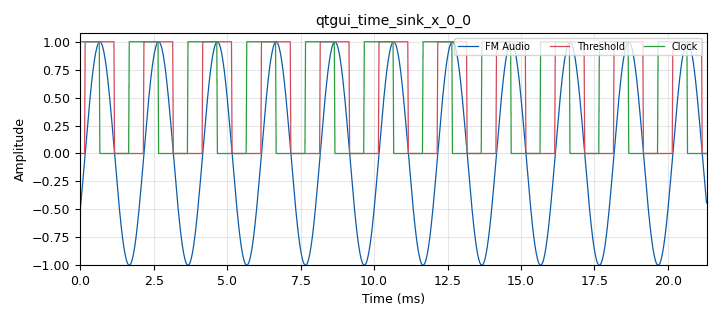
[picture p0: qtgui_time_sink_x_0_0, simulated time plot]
<?xml version='1.0' encoding='utf-8'?>
<?grc format='1' created='3.7.11'?>
<flow_graph>
<block>
<key>options</key>
<param><key>id</key><value>rdf_sim</value></param>
<param><key>generate_options</key><value>qt_gui</value></param>
<param><key>title</key><value>RDF Simulator</value></param>
</block>
<block>
<key>variable</key>
<param><key>id</key><value>freq</value></param>
<param><key>value</key><value>500</value></param>
</block>
<block>
<key>variable</key>
<param><key>id</key><value>samp_rate</value></param>
<param><key>value</key><value>48000</value></param>
</block>
<block>
<key>variable_qtgui_range</key>
<param><key>id</key><value>shift_slider</value></param>
<param><key>value</key><value>0</value></param>
<param><key>orient</key><value>Qt.Horizontal</value></param>
<param><key>start</key><value>0</value></param>
<param><key>step</key><value>0.1</value></param>
<param><key>stop</key><value>2* math.pi</value></param>
<param><key>widget</key><value>slider</value></param>
</block>
<block>
<key>variable_qtgui_label</key>
<param><key>id</key><value>variable_qtgui_label_0</value></param>
<param><key>value</key><value>3</value></param>
<param><key>label</key><value>hello</value></param>
<param><key>type</key><value>int</value></param>
</block>
<block>
<key>analog_sig_source_x</key>
<param><key>id</key><value>analog_sig_source_x_0</value></param>
<param><key>amp</key><value>1</value></param>
<param><key>freq</key><value>freq</value></param>
<param><key>offset</key><value>0</value></param>
<param><key>type</key><value>complex</value></param>
<param><key>samp_rate</key><value>samp_rate</value></param>
<param><key>waveform</key><value>analog.GR_COS_WAVE</value></param>
</block>
<block>
<key>analog_sig_source_x</key>
<param><key>id</key><value>analog_sig_source_x_1</value></param>
<param><key>amp</key><value>1</value></param>
<param><key>freq</key><value>freq </value></param>
<param><key>offset</key><value>0</value></param>
<param><key>type</key><value>float</value></param>
<param><key>samp_rate</key><value>samp_rate</value></param>
<param><key>waveform</key><value>analog.GR_SQR_WAVE</value></param>
</block>
<block>
<key>blocks_add_xx</key>
<param><key>id</key><value>blocks_add_xx_0</value></param>
<param><key>type</key><value>float</value></param>
</block>
<block>
<key>blocks_and_xx</key>
<param><key>id</key><value>blocks_and_xx_0</value></param>
<param><key>_enabled</key><value>0</value></param>
<param><key>type</key><value>byte</value></param>
</block>
<block>
<key>blocks_complex_to_float</key>
<param><key>id</key><value>blocks_complex_to_float_0</value></param>
</block>
<block>
<key>blocks_float_to_uchar</key>
<param><key>id</key><value>blocks_float_to_uchar_0</value></param>
</block>
<block>
<key>blocks_float_to_uchar</key>
<param><key>id</key><value>blocks_float_to_uchar_0_0</value></param>
</block>
<block>
<key>blocks_float_to_uchar</key>
<param><key>id</key><value>blocks_float_to_uchar_0_0_0</value></param>
</block>
<block>
<key>blocks_multiply_const_vxx</key>
<param><key>id</key><value>blocks_multiply_const_vxx_0</value></param>
<param><key>const</key><value>complex(math.cos(shift_slider),math.sin(shift_slider))</value></param>
<param><key>type</key><value>complex</value></param>
</block>
<block>
<key>blocks_null_sink</key>
<param><key>id</key><value>blocks_null_sink_0</value></param>
<param><key>bus_conns</key><value>[[0,],]</value></param>
<param><key>type</key><value>complex</value></param>
</block>
<block>
<key>blocks_null_source</key>
<param><key>id</key><value>blocks_null_source_0</value></param>
<param><key>bus_conns</key><value>[[0,],]</value></param>
<param><key>type</key><value>complex</value></param>
</block>
<block>
<key>blocks_threshold_ff</key>
<param><key>id</key><value>blocks_threshold_ff_1</value></param>
<param><key>high</key><value>0</value></param>
<param><key>init</key><value>0</value></param>
<param><key>low</key><value>0</value></param>
</block>
<block>
<key>blocks_throttle</key>
<param><key>id</key><value>blocks_throttle_0</value></param>
<param><key>samples_per_second</key><value>samp_rate</value></param>
<param><key>type</key><value>complex</value></param>
</block>
<block>
<key>blocks_throttle</key>
<param><key>id</key><value>blocks_throttle_0_0</value></param>
<param><key>samples_per_second</key><value>samp_rate</value></param>
<param><key>type</key><value>float</value></param>
</block>
<block>
<key>blocks_uchar_to_float</key>
<param><key>id</key><value>blocks_uchar_to_float_0</value></param>
<param><key>_enabled</key><value>0</value></param>
</block>
<block>
<key>blocks_udp_sink</key>
<param><key>id</key><value>blocks_udp_sink_0</value></param>
<param><key>ipaddr</key><value>localhost</value></param>
<param><key>port</key><value>913</value></param>
<param><key>type</key><value>byte</value></param>
<param><key>psize</key><value>1472</value></param>
<param><key>eof</key><value>True</value></param>
<param><key>vlen</key><value>1</value></param>
</block>
<block>
<key>digital_binary_slicer_fb</key>
<param><key>id</key><value>digital_binary_slicer_fb_0</value></param>
<param><key>_enabled</key><value>0</value></param>
</block>
<block>
<key>epy_block</key>
<param><key>id</key><value>epy_block_0</value></param>
<param><key>_source_code</key><value>"""
Embedded Python Blocks:

Each time this file is saved, GRC will instantiate the first class it finds
to get ports and parameters of your block. The arguments to __init__  will
be the parameters. All of them are required to have default values!
"""

import numpy as np
from gnuradio import gr


class blk(gr.sync_block):  # other base classes are basic_block, decim_block, interp_block
    """Embedded Python Block example - a simple multiply const"""

    def __init__(self, example_param=1.0):  # only default arguments here
        """arguments to this function show up as parameters in GRC"""
        gr.sync_block.__init__(
            self,
            name='hello world...',   # will show up in GRC
            in_sig=[np.complex64],
            out_sig=[np.complex64]
        )
        # if an attribute with the same name as a parameter is found,
        # a callback is registered (properties work, too).
        self.example_param = example_param

    def work(self, input_items, output_items):
        """example: multiply with constant"""
        output_items[0][:] = input_items[0] * self.example_param
        return len(output_items[0])
</value></param>
<param><key>example_param</key><value>1.0</value></param>
</block>
<block>
<key>epy_block</key>
<param><key>id</key><value>epy_block_0_0</value></param>
<param><key>_source_code</key><value>"""
Embedded Python Blocks:

Each time this file is saved, GRC will instantiate the first class it finds
to get ports and parameters of your block. The arguments to __init__  will
be the parameters. All of them are required to have default values!
"""

import numpy as np
from gnuradio import gr

# in new folder
class blk(gr.sync_block):  # other base classes are basic_block, decim_block, interp_block
    """Embedded Python Block example - a simple multiply const"""

    total_samples = 0
    curr_sig_samples = np.array([])
    curr_ref_samples = np.array([])


    def __init__(self, samp_rate=1.0, freq=500):  # only default arguments here
        """arguments to this function show up as parameters in GRC"""
        gr.sync_block.__init__(
            self,
            name='Phase Measurement',   # will show up in GRC
            in_sig=[np.uint8, np.uint8],
            out_sig=[np.float32]
        )
        # np types int32  
        # if an attribute with the same name as a parameter is found,
        # a callback is registered (properties work, too).
        self.samp_rate = samp_rate
        self.freq = freq

    def work(self, input_items, output_items):
        # print('sample rate = ' + str(self.samp_rate))
        # print('freq        = ' + str(self.freq))
        # print('Input Items[0]: ' + str(input_items[0]))
        # print('Input Items[1]: ' + str(input_items[1]))

        # input as a tuple???
        # print(str(type(self.curr_sig_samples)))
        # print(str(type(input_items[0])))
        # self.curr_sig_samples = np.concatenate((self.curr_sig_samples, input_items[0]))
        # self.curr_ref_samples = np.concatenate((self.curr_ref_samples, input_items[1]))

        # print('number of sig inputs: ' + str(len(input_items[0])))
        # print('number of sig samples: ' + str(len(self.curr_sig_samples)))
        # print('number of ref inputs: ' + str(len(input_items[1])))
        # print('number of ref samples: ' + str(len(self.curr_ref_samples)))
        # print(str(self.curr_sig_samples))
        # todo: check logic

        if len(input_items[0]) &gt;=  self.samp_rate/self.freq:
            max = [0,0]
            min = [0,0]
            max[0] = np.argmax(input_items[0])
            max[1] = np.argmax(input_items[1])
            min[0] = np.argmin(input_items[0])
            min[1] = np.argmin(input_items[1])
                # check for length
                # try putting a delay here...
            if max[0] and max[1]: 
                # angle = (max[0] - max[1]) * 360 / (self.samp_rate/self.freq)
                angle = 180 + (max[0] - max[1]) * 3.75
                # print('max: ' + str(angle))
                # print('MAX ' + str(max[0]) + ' ' + str(max[1]) + ' ' + str(angle))
                output_items[0][:] = np.array([angle])
                # print(output_items[0][:])
                # print('max')
            elif min[0] and min[1]: 
                # angle = (min[0] - min[1])  * 360 / self.samp_rate/self.freq
                angle = 180 + (min[0] - min[1]) * 3.75
                # print('min: ' + str(angle))
                # print('MIN ' + str(min[0]) + ' ' + str(min[1]) + ' ' + str(angle))
                output_items[0][:] = np.array([angle])
                # print(output_items[0][:])
                # print('min')
            # else:
                # needs xor
                # print('needs more work')
            # self.curr_sig_samples = np.array([])
            # self.curr_ref_samples = np.array([])
        else:
            #print('too short')
            return 0


        # print(str(type(input_items[0])))
        # self.total_samples += len(input_items[0])
        # self.total_samples += 1
        # print('current samples: ' + str(len(input_items[0])))
        # print('total samples  : ' + str(self.total_samples))
        # output_items[0][:] = input_items[0] * self.example_param
        # output_items[0][:] = self.total_samples
        # print(len(input_items[0]))
        # print(len(output_items[0]))
        return len(output_items[0])
        </value></param>
<param><key>freq</key><value>500</value></param>
<param><key>samp_rate</key><value>samp_rate</value></param>
</block>
<block>
<key>epy_module</key>
<param><key>id</key><value>epy_module_0</value></param>
<param><key>source_code</key><value># this module will be imported in the into your flowgraph</value></param>
<param><key>_enabled</key><value>0</value></param>
</block>
<block>
<key>import</key>
<param><key>id</key><value>import_0</value></param>
<param><key>import</key><value>import math</value></param>
</block>
<block>
<key>qtgui_number_sink</key>
<param><key>id</key><value>qtgui_number_sink_0</value></param>
<param><key>graph_type</key><value>qtgui.NUM_GRAPH_HORIZ</value></param>
<param><key>type</key><value>float</value></param>
<param><key>max</key><value>360</value></param>
<param><key>min</key><value>0</value></param>
<param><key>name</key><value>"Bearing"</value></param>
</block>
<block>
<key>qtgui_time_sink_x</key>
<param><key>id</key><value>qtgui_time_sink_x_0_0</value></param>
<param><key>ctrlpanel</key><value>True</value></param>
<param><key>entags</key><value>False</value></param>
<param><key>color1</key><value>"blue"</value></param>
<param><key>label1</key><value>FM Audio</value></param>
<param><key>color2</key><value>"red"</value></param>
<param><key>label2</key><value>Threshold</value></param>
<param><key>color3</key><value>"green"</value></param>
<param><key>label3</key><value>Clock</value></param>
<param><key>nconnections</key><value>3</value></param>
<param><key>size</key><value>1024</value></param>
<param><key>srate</key><value>samp_rate</value></param>
<param><key>type</key><value>float</value></param>
</block>
<block>
<key>qtgui_time_sink_x</key>
<param><key>id</key><value>qtgui_time_sink_x_0_0_0_0</value></param>
<param><key>ctrlpanel</key><value>True</value></param>
<param><key>_enabled</key><value>0</value></param>
<param><key>color1</key><value>"blue"</value></param>
<param><key>label1</key><value>Gate</value></param>
<param><key>size</key><value>10</value></param>
<param><key>srate</key><value>samp_rate</value></param>
<param><key>type</key><value>float</value></param>
<param><key>ymax</key><value>180</value></param>
<param><key>ymin</key><value>-180</value></param>
</block>
<connection><source_block_id>analog_sig_source_x_0</source_block_id><sink_block_id>blocks_throttle_0</sink_block_id><source_key>0</source_key><sink_key>0</sink_key></connection>
<connection><source_block_id>analog_sig_source_x_1</source_block_id><sink_block_id>blocks_throttle_0_0</sink_block_id><source_key>0</source_key><sink_key>0</sink_key></connection>
<connection><source_block_id>blocks_add_xx_0</source_block_id><sink_block_id>blocks_float_to_uchar_0_0_0</sink_block_id><source_key>0</source_key><sink_key>0</sink_key></connection>
<connection><source_block_id>blocks_complex_to_float_0</source_block_id><sink_block_id>blocks_threshold_ff_1</sink_block_id><source_key>0</source_key><sink_key>0</sink_key></connection>
<connection><source_block_id>blocks_complex_to_float_0</source_block_id><sink_block_id>qtgui_time_sink_x_0_0</sink_block_id><source_key>0</source_key><sink_key>0</sink_key></connection>
<connection><source_block_id>blocks_float_to_uchar_0</source_block_id><sink_block_id>epy_block_0_0</sink_block_id><source_key>0</source_key><sink_key>0</sink_key></connection>
<connection><source_block_id>blocks_float_to_uchar_0_0</source_block_id><sink_block_id>epy_block_0_0</sink_block_id><source_key>0</source_key><sink_key>1</sink_key></connection>
<connection><source_block_id>blocks_float_to_uchar_0_0_0</source_block_id><sink_block_id>blocks_udp_sink_0</sink_block_id><source_key>0</source_key><sink_key>0</sink_key></connection>
<connection><source_block_id>blocks_multiply_const_vxx_0</source_block_id><sink_block_id>blocks_complex_to_float_0</sink_block_id><source_key>0</source_key><sink_key>0</sink_key></connection>
<connection><source_block_id>blocks_null_source_0</source_block_id><sink_block_id>epy_block_0</sink_block_id><source_key>0</source_key><sink_key>0</sink_key></connection>
<connection><source_block_id>blocks_threshold_ff_1</source_block_id><sink_block_id>blocks_add_xx_0</sink_block_id><source_key>0</source_key><sink_key>0</sink_key></connection>
<connection><source_block_id>blocks_threshold_ff_1</source_block_id><sink_block_id>blocks_float_to_uchar_0</sink_block_id><source_key>0</source_key><sink_key>0</sink_key></connection>
<connection><source_block_id>blocks_threshold_ff_1</source_block_id><sink_block_id>qtgui_time_sink_x_0_0</sink_block_id><source_key>0</source_key><sink_key>1</sink_key></connection>
<connection><source_block_id>blocks_throttle_0</source_block_id><sink_block_id>blocks_multiply_const_vxx_0</sink_block_id><source_key>0</source_key><sink_key>0</sink_key></connection>
<connection><source_block_id>blocks_throttle_0_0</source_block_id><sink_block_id>blocks_add_xx_0</sink_block_id><source_key>0</source_key><sink_key>1</sink_key></connection>
<connection><source_block_id>blocks_throttle_0_0</source_block_id><sink_block_id>blocks_float_to_uchar_0_0</sink_block_id><source_key>0</source_key><sink_key>0</sink_key></connection>
<connection><source_block_id>blocks_throttle_0_0</source_block_id><sink_block_id>qtgui_time_sink_x_0_0</sink_block_id><source_key>0</source_key><sink_key>2</sink_key></connection>
<connection><source_block_id>epy_block_0</source_block_id><sink_block_id>blocks_null_sink_0</sink_block_id><source_key>0</source_key><sink_key>0</sink_key></connection>
<connection><source_block_id>epy_block_0_0</source_block_id><sink_block_id>qtgui_number_sink_0</sink_block_id><source_key>0</source_key><sink_key>0</sink_key></connection>
<connection><source_block_id>epy_block_0_0</source_block_id><sink_block_id>qtgui_time_sink_x_0_0_0_0</sink_block_id><source_key>0</source_key><sink_key>0</sink_key></connection>
</flow_graph>
